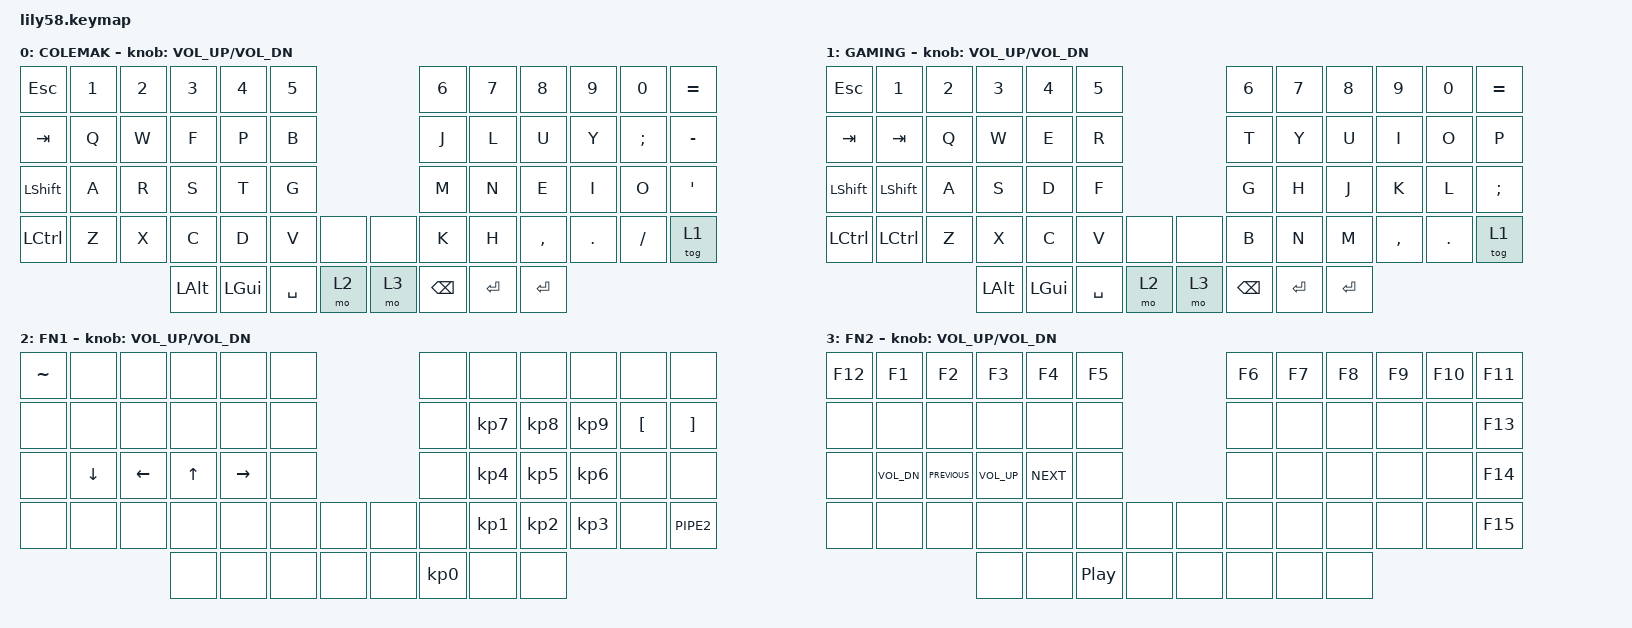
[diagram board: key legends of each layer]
/*
 * Copyright (c) 2020 The ZMK Contributors
 *
 * SPDX-License-Identifier: MIT
 */

#include <behaviors.dtsi>
#include <dt-bindings/zmk/keys.h>

/ {
    keymap {
        compatible = "zmk,keymap";

        Colemak {
            // ------------------------------------------------------------------------------------------------------------
            // |  ESC  |  1  |  2  |  3   |  4   |  5   |                   |  6   |  7    |  8    |  9   |   0   |   `   |
            // |  TAB  |  Q  |  W  |  E   |  R   |  T   |                   |  Y   |  U    |  I    |  O   |   P   |   -   |
            // |  CTRL |  A  |  S  |  D   |  F   |  G   |                   |  H   |  J    |  K    |  L   |   ;   |   '   |
            // | SHIFT |  Z  |  X  |  C   |  V   |  B   |   "["  |  |  "]"  |  N   |  M    |  ,    |  .   |   /   | SHIFT |
            //                     | ALT  | GUI  | LOWER|  SPACE |  | ENTER | RAISE| BSPC  | GUI   |

            display-name = "COLEMAK";
            bindings = <
&kp ESC           &kp N1  &kp N2  &kp N3    &kp N4    &kp N5                     &kp N6         &kp N7     &kp N8     &kp N9   &kp N0    &kp EQUAL
&kp TAB           &kp Q   &kp W   &kp F     &kp P     &kp B                      &kp J          &kp L      &kp U      &kp Y    &kp SEMI  &kp MINUS
&kp LEFT_SHIFT    &kp A   &kp R   &kp S     &kp T     &kp G                      &kp M          &kp N      &kp E      &kp I    &kp O     &kp SQT
&kp LEFT_CONTROL  &kp Z   &kp X   &kp C     &kp D     &kp V      &none    &none  &kp K          &kp H      &kp COMMA  &kp DOT  &kp FSLH  &tog 1
                                  &kp LALT  &kp LGUI  &kp SPACE  &mo 2    &mo 3  &kp BACKSPACE  &kp ENTER  &kp ENTER
            >;

            sensor-bindings = <&inc_dec_kp C_VOL_UP C_VOL_DN>;
        };

        Gaming {
            // ------------------------------------------------------------------------------------------------------------
            // | BTCLR | BT1 | BT2 |  BT3 |  BT4 |  BT5 |                   |      |       |       |      |       |       |
            // |  F1   |  F2 |  F3 |  F4  |  F5  |  F6  |                   |  F7  |  F8   |  F9   |  F10 |  F11  |  F12  |
            // |   `   |  !  |  @  |  #   |  $   |  %   |                   |  ^   |  &    |  *    |  (   |   )   |   ~   |
            // |       |     |     |      |      |      |        |  |       |      |  _    |  +    |  {   |   }   |  "|"  |
            //                     |      |      |      |        |  |       |      |       |       |

            display-name = "GAMING";
            bindings = <
&kp ESCAPE        &kp NUMBER_1      &kp NUMBER_2  &kp NUMBER_3  &kp NUMBER_4  &kp NUMBER_5                  &kp NUMBER_6   &kp NUMBER_7  &kp NUMBER_8  &kp NUMBER_9  &kp NUMBER_0  &kp EQUAL
&kp TAB           &kp TAB           &kp Q         &kp W         &kp E         &kp R                         &kp T          &kp Y         &kp U         &kp I         &kp O         &kp P
&kp LEFT_SHIFT    &kp LEFT_SHIFT    &kp A         &kp S         &kp D         &kp F                         &kp G          &kp H         &kp J         &kp K         &kp L         &kp SEMI
&kp LEFT_CONTROL  &kp LEFT_CONTROL  &kp Z         &kp X         &kp C         &kp V         &none    &none  &kp B          &kp N         &kp M         &kp COMMA     &kp PERIOD    &tog 1
                                                  &kp LEFT_ALT  &kp LEFT_GUI  &kp SPACE     &mo 2    &mo 3  &kp BACKSPACE  &kp RETURN    &kp ENTER
            >;

            sensor-bindings = <&inc_dec_kp C_VOL_UP C_VOL_DN>;
        };

        Function1 {
            // ------------------------------------------------------------------------------------------------------------
            // |       |     |     |      |      |      |                   |      |       |       |      |       |       |
            // |   `   |  1  |  2  |  3   |  4   |  5   |                   |  6   |   7   |   8   |  9   |   0   |       |
            // |   F1  |  F2 |  F3 |  F4  |  F5  |  F6  |                   |      |   <-  |   v   |  ^   |  ->   |       |
            // |   F7  |  F8 |  F9 |  F10 |  F11 |  F12 |        |  |       |  +   |   -   |   =   |  [   |   ]   |   \   |
            //                     |      |      |      |        |  |       |      |       |       |

            display-name = "FN1";
            bindings = <
&kp TILDE  &none     &none     &none         &none      &none                  &none            &none            &none            &none            &none             &none
&none      &none     &none     &none         &none      &none                  &none            &kp KP_NUMBER_7  &kp KP_NUMBER_8  &kp KP_NUMBER_9  &kp LEFT_BRACKET  &kp RIGHT_BRACKET
&none      &kp DOWN  &kp LEFT  &kp UP_ARROW  &kp RIGHT  &none                  &none            &kp KP_NUMBER_4  &kp KP_NUMBER_5  &kp KP_NUMBER_6  &none             &none
&none      &none     &none     &none         &none      &none  &none    &none  &none            &kp KP_NUMBER_1  &kp KP_NUMBER_2  &kp KP_NUMBER_3  &none             &kp PIPE2
                               &none         &none      &none  &none    &none  &kp KP_NUMBER_0  &none            &none
            >;

            sensor-bindings = <&inc_dec_kp C_VOL_UP C_VOL_DN>;
        };

        Function2 {
            // ------------------------------------------------------------------------------------------------------------
            // |       |     |     |      |      |      |                   |      |       |       |      |       |       |
            // |   `   |  1  |  2  |  3   |  4   |  5   |                   |  6   |   7   |   8   |  9   |   0   |       |
            // |   F1  |  F2 |  F3 |  F4  |  F5  |  F6  |                   |      |   <-  |   v   |  ^   |  ->   |       |
            // |   F7  |  F8 |  F9 |  F10 |  F11 |  F12 |        |  |       |  +   |   -   |   =   |  [   |   ]   |   \   |
            //                     |      |      |      |        |  |       |      |       |       |

            display-name = "FN2";
            bindings = <
&kp F12  &kp F1        &kp F2          &kp F3        &kp F4      &kp F5                            &kp F6  &kp F7  &kp F8  &kp F9  &kp F10  &kp F11
&none    &none         &none           &none         &none       &none                             &none   &none   &none   &none   &none    &kp F13
&none    &kp C_VOL_DN  &kp C_PREVIOUS  &kp C_VOL_UP  &kp C_NEXT  &none                             &none   &none   &none   &none   &none    &kp F14
&none    &none         &none           &none         &none       &none             &none    &none  &none   &none   &none   &none   &none    &kp F15
                                       &none         &none       &kp C_PLAY_PAUSE  &none    &none  &none   &none   &none
            >;

            sensor-bindings = <&inc_dec_kp C_VOL_UP C_VOL_DN>;
        };
    };
};
